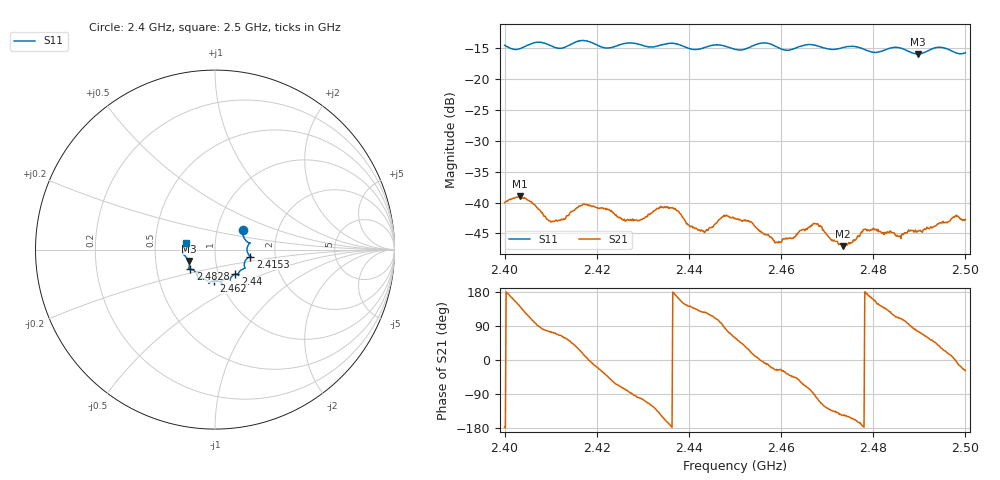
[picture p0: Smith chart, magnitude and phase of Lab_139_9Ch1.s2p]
# Hz S RI R 50
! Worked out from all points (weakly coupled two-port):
!   601 points, 2.4 GHz to 2.5 GHz, reference 50 ohm
!   highest |S21| = -39.01 dB at 2.4033 GHz (marker M1); lowest = -47.1 dB at 2.4735 GHz (marker M2)
!   lowest |S11| = -15.9 dB at 2.4897 GHz (marker M3), VSWR 1.38, Z = 36.9 - j4.82 ohm
!   |S11| at or under -10 dB: start of sweep to end of sweep
!   S12 and S22 are empty: the file has one direction only
!   S11 on the Smith chart (normalised r, x): 2.4 GHz: 1.33, +0.29; 2.4153 GHz: 1.48, -0.12; 2.44 GHz: 1.21, -0.34; 2.462 GHz: 0.93, -0.33; 2.4828 GHz: 0.74, -0.17; 2.5 GHz: 0.72, +0.06
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2.4e9  0.1555 0.1068  -0.01 -0.000438  0 0  0 0
2.403333e9  0.1685 0.0553  -0.00871 0.00704  0 0  0 0
2.41e9  0.1855 0.0259  0.00182 0.00674  0 0  0 0
2.415333e9  0.1962 -0.0389  0.00702 0.00539  0 0  0 0
2.416667e9  0.2018 -0.0428  0.00887 0.00336  0 0  0 0
2.426667e9  0.168 -0.1024  0.00111 -0.00723  0 0  0 0
2.433333e9  0.1307 -0.1336  -0.00649 -0.00611  0 0  0 0
2.436833e9  0.1321 -0.1438  -0.00885 0.000795  0 0  0 0
2.44e9  0.1142 -0.1365  -0.00512 0.00405  0 0  0 0
2.4435e9  0.0869 -0.1594  -0.00329 0.00472  0 0  0 0
2.447667e9  0.0826 -0.1672  0.000468 0.00791  0 0  0 0
2.45e9  0.0652 -0.1625  0.00387 0.00638  0 0  0 0
2.458833e9  0.0322 -0.1822  0.00425 -0.00207  0 0  0 0
2.462e9  -0.00541 -0.1731  0.00389 -0.0034  0 0  0 0
2.466667e9  -0.0344 -0.1878  0.000729 -0.00654  0 0  0 0
2.4735e9  -0.0842 -0.1604  -0.00367 -0.00248  0 0  0 0
2.478e9  -0.0989 -0.145  -0.00605 -0.000297  0 0  0 0
2.482833e9  -0.1365 -0.109  -0.0039 0.00405  0 0  0 0
2.483333e9  -0.1403 -0.1088  -0.00365 0.00443  0 0  0 0
2.489667e9  -0.147 -0.0636  0.00142 0.00564  0 0  0 0
2.494167e9  -0.1804 -0.0223  0.00523 0.00422  0 0  0 0
2.5e9  -0.1594 0.0391  0.00642 -0.00344  0 0  0 0
